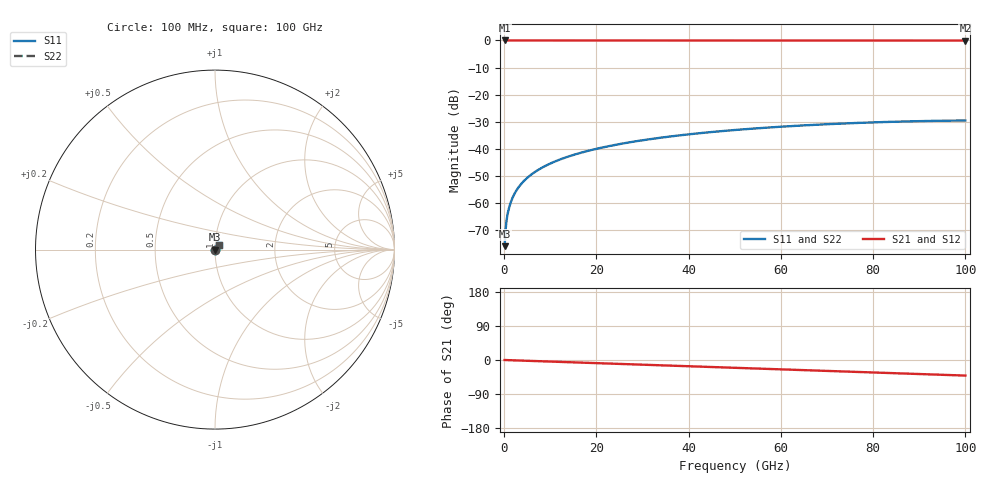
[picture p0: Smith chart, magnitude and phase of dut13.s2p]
! Touchstone file exported from HFSS 2026.1.0
!  File:  C:/ffzhzh/LocalFiles/Ansys_Project_Files/temp_train_TSV_13_1783504285_41296.aedt
!  Generated:  05:52:46 PM Jul  8, 2026
!  Design:  TSV
!  Project:  temp_train_TSV_13_1783504285_41296
! Variables:
!  h_bsmrdl = 2um
!  h_ox = 20um
!  h_rdl = 5um
!  h_sub = 82.63um
!  h_tmrdl = 5um
!  h_tsv = 82.63um
!  h_via = 3um
!  l_bsmrdl = 300um
!  l_sub = 419.8um
!  l_tmrdl = 200um
!  m_sub = 200um
!  pitch = 43.33um
!  r_tsv = 9.9um
!  s_tmrdl = 10um
!  w_bsmrdl = 18um
!  w_sub = 500um
!  w_tmrdl = 12um
!  x_tsv_center1 = 206um
!  x_tsv_center2 = 524um
!  x_tsv_center3 = 736um
!  x_tsv_center4 = 1054um
!  x_tsv_center5 = 1266um
!  x_tsv_center6 = 1584um
# GHz S MA R 50.000000
! Terminal data exported
! Port[1] = TSV1_1_T1
! Port[2] = TSV1_1_T2
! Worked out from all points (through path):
!   1000 points, 100 MHz to 100 GHz, reference 50 ohm
!   highest |S21| = 0.00 dB at 100 MHz (marker M1); lowest = 0.0 dB at 100 GHz (marker M2)
!   group delay of S21, straight-line fit = 1.14 ps
!   lowest |S11| = -75.8 dB at 100 MHz (marker M3), VSWR 1.00, Z = 50 + j0.00941 ohm
!   |S11| at or under -10 dB: start of sweep to end of sweep
!   |S22| runs from -75.8 to -29.5 dB; largest |S21 - S12| = 8.8e-15
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0.1  0.0001625 35.4  0.9999 -0.0  0.9999 -0.0  0.0001625 35.4
! Gamma 0 0 0 0
! Port Impedance 50 0 50 0
0.4  0.000393 61.5  0.9998 -0.2  0.9998 -0.2  0.000393 61.5
0.7  0.0006024 65.4  0.9998 -0.3  0.9998 -0.3  0.0006024 65.4
0.8  0.0006661 66.1  0.9997 -0.3  0.9997 -0.3  0.0006661 66.1
1.1  0.0008483 68.1  0.9997 -0.5  0.9997 -0.5  0.0008483 68.1
1.4  0.001024 69.5  0.9996 -0.6  0.9996 -0.6  0.001024 69.5
1.9  0.001309 71.2  0.9996 -0.8  0.9996 -0.8  0.001309 71.2
2.5  0.001641 72.5  0.9995 -1.0  0.9995 -1.0  0.001641 72.5
3.2  0.002016 73.4  0.9995 -1.3  0.9995 -1.3  0.002016 73.4
4  0.002433 74.2  0.9994 -1.7  0.9994 -1.7  0.002433 74.2
5  0.002942 74.9  0.9993 -2.1  0.9993 -2.1  0.002942 74.9
6.2  0.003544 75.5  0.9993 -2.6  0.9993 -2.6  0.003544 75.5
9  0.004924 75.9  0.9991 -3.7  0.9991 -3.7  0.004924 75.9
12.5  0.006608 75.5  0.9989 -5.2  0.9989 -5.2  0.006608 75.5
16.8  0.008619 74.8  0.9987 -6.9  0.9987 -6.9  0.008619 74.8
24.2  0.01198 73.0  0.9984 -10.0  0.9984 -10.0  0.01197 73.0
33.4  0.01596 70.1  0.9981 -13.7  0.9981 -13.7  0.01596 70.1
41.3  0.01916 67.3  0.9979 -17.0  0.9979 -17.0  0.01916 67.4
50.1  0.02246 64.1  0.9976 -20.6  0.9976 -20.6  0.02245 64.1
66.7  0.02775 57.8  0.9971 -27.4  0.9971 -27.4  0.02775 57.8
83.4  0.03162 51.2  0.9967 -34.3  0.9967 -34.3  0.03162 51.2
100  0.03357 44.5  0.9962 -41.1  0.9962 -41.1  0.03356 44.6
